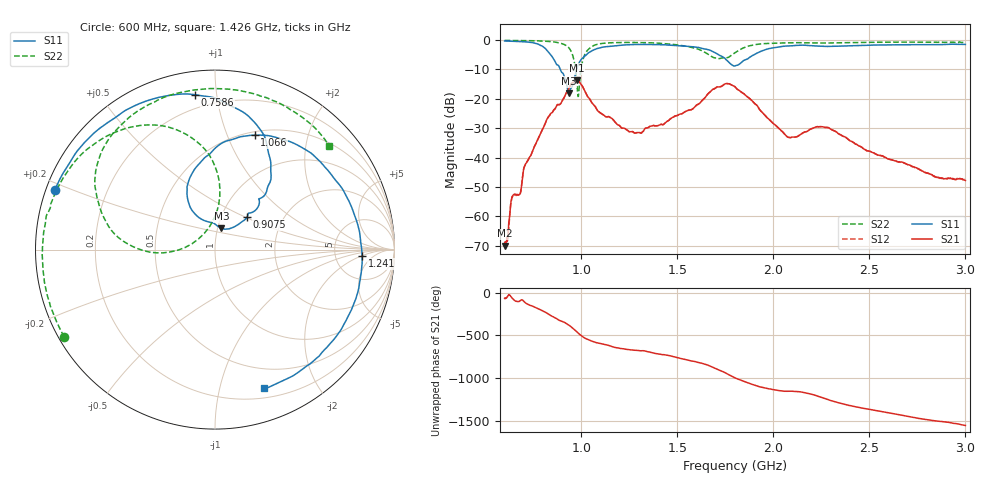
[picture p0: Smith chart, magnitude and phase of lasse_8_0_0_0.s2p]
#  HZ  S  RI  R  50.00
! Rohde & Schwarz ZVB8 2Ports - Version 2.81 - 1145.1010k08 SN: 100113
! Date: 2016-05-04 02:48:48
! Measurements: S11 S21 S12 S22
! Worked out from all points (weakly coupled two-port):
!   1000 points, 600 MHz to 3 GHz, reference 50 ohm
!   highest |S21| = -13.84 dB at 974.8 MHz (marker M1); lowest = -70.0 dB at 600 MHz (marker M2)
!   lowest |S11| = -18.2 dB at 933.9 MHz (marker M3), VSWR 1.28, Z = 52.2 + j12.5 ohm
!   |S11| at or under -10 dB: 889.4 MHz to 975.8 MHz (86.37 MHz wide, 9.26 % of centre)
!   |S22| runs from -19.3 to -0.3 dB; largest |S21 - S12| = 0.0017
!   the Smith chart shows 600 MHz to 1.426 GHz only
!   S11 on the Smith chart (normalised r, x): 600 MHz: 0.03, +0.18; 758.6 MHz: 0.12, +0.87; 907.5 MHz: 1.32, +0.52; 1.066 GHz: 0.54, +1.26; 1.241 GHz: 9.67, -2.04; 1.426 GHz: 0.29, -1.38
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6e8  -0.8916 0.3327  0.000125 -0.000291  8.75e-05 -0.0003  -0.8404 -0.486
6.408408e8  -0.7802 0.5315  0.00077 -0.00203  0.00077 -0.00201  -0.9069 -0.3404
7.585586e8  -0.11 0.8629  -0.016 -0.00202  -0.016 -0.00211  -0.9498 0.1187
8.258258e8  0.2945 0.5538  -0.0177 0.0444  -0.0178 0.0442  -0.8513 0.3899
9.075075e8  0.1789 0.1823  0.0971 0.0262  0.0968 0.0269  -0.4917 0.6767
9.339339e8  0.036 0.1182  0.1387 -0.0474  0.1386 -0.0466  -0.2631 0.6836
9.747748e8  -0.1496 0.2695  -0.0201 -0.2022  -0.0189 -0.2021  0.00907 0.2078
1.001201e9  -0.1049 0.4593  -0.14 -0.0944  -0.1393 -0.0949  -0.3651 -0.0136
1.066066e9  0.2204 0.6377  -0.0634 0.0437  -0.0637 0.0434  -0.6622 0.4507
1.241441e9  0.8192 -0.0346  0.0164 0.0236  0.0163 0.0237  -0.0289 0.897
1.4e9  0.396 -0.7219  0.0348 0.00295  0.0347 0.00309  0.5684 0.666
1.426426e9  0.2751 -0.7729  0.0362 -0.00263  0.0361 -0.00234  0.6379 0.5785
1.64024e9  -0.5488 -0.4305  -0.0395 -0.0926  -0.0389 -0.0927  0.59 -0.176
1.801201e9  -0.344 -0.1072  0.0169 0.1566  0.0156 0.1563  0.5836 -0.1613
1.8997e9  -0.5351 -0.1465  0.0844 0.00289  0.084 0.0039  0.6032 -0.5508
2.003003e9  -0.7022 0.201  0.0224 -0.0297  0.0226 -0.0295  0.2911 -0.8243
2.082282e9  -0.5978 0.5094  0.00731 -0.0207  0.00742 -0.0206  0.0246 -0.8834
2.2e9  -0.1759 0.7714  -0.00881 -0.0297  -0.00861 -0.0297  -0.3383 -0.8147
2.384985e9  0.4851 0.6159  -0.013 0.0163  -0.0133 0.0162  -0.7192 -0.531
2.601201e9  0.792 -0.2066  0.00742 0.0058  0.00728 0.0058  -0.9058 -0.0507
2.800601e9  0.2396 -0.7862  0.00409 -0.00372  0.00408 -0.00354  -0.8141 0.3976
3e9  -0.4766 -0.6821  -0.00138 -0.00384  -0.0013 -0.00383  -0.5154 0.7345
